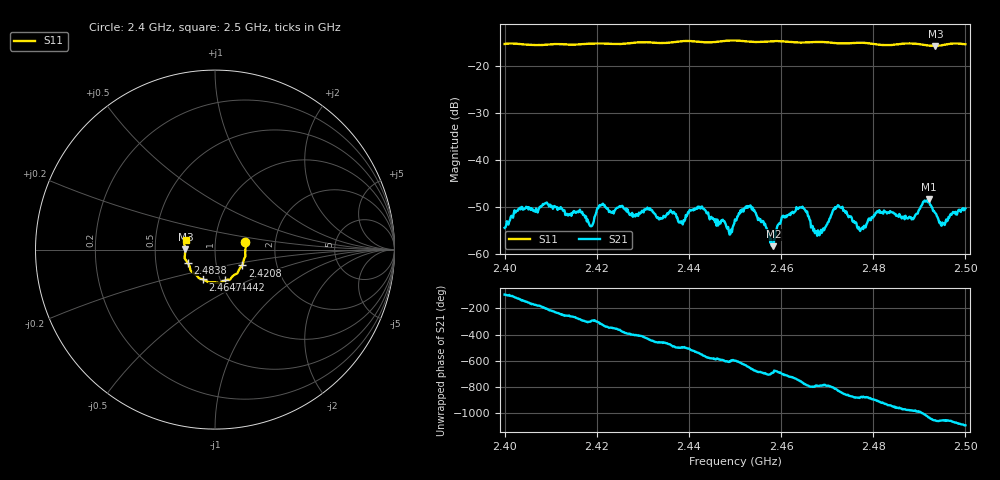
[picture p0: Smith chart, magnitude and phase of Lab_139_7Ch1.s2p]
# Hz S RI R 50
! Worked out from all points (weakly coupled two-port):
!   601 points, 2.4 GHz to 2.5 GHz, reference 50 ohm
!   highest |S21| = -48.37 dB at 2.492 GHz (marker M1); lowest = -58.3 dB at 2.4583 GHz (marker M2)
!   lowest |S11| = -15.6 dB at 2.4935 GHz (marker M3), VSWR 1.40, Z = 35.8 + j0.199 ohm
!   |S11| at or under -10 dB: start of sweep to end of sweep
!   S12 and S22 are empty: the file has one direction only
!   S11 on the Smith chart (normalised r, x): 2.4 GHz: 1.40, +0.12; 2.4208 GHz: 1.33, -0.24; 2.4442 GHz: 1.05, -0.37; 2.4647 GHz: 0.83, -0.29; 2.4838 GHz: 0.73, -0.11; 2.5 GHz: 0.71, +0.08
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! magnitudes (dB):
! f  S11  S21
! 2.4 GHz  -15.2  -54.4
! 2.4088 GHz  -15.4  -49.2
! 2.4167 GHz  -15.3  -51.2
! 2.4188 GHz  -15.1  -54.1
! 2.4208 GHz  -15.1  -49.7
! 2.4333 GHz  -15.0  -52.2
! 2.4442 GHz  -14.9  -51.2
! 2.45 GHz  -14.5  -52.6
! 2.4533 GHz  -14.7  -49.7
! 2.4583 GHz  -14.6  -58.3
! 2.4605 GHz  -14.7  -51.9
! 2.4647 GHz  -14.9  -49.9
! 2.4667 GHz  -14.8  -54.2
! 2.4688 GHz  -14.8  -55.5
! 2.4722 GHz  -15.1  -49.9
! 2.477 GHz  -15.0  -54.8
! 2.4833 GHz  -15.5  -51.2
! 2.4838 GHz  -15.4  -51.1
! 2.492 GHz  -15.6  -48.4
! 2.4935 GHz  -15.6  -51.3
! 2.4952 GHz  -15.4  -53.6
! 2.5 GHz  -15.3  -50.3
